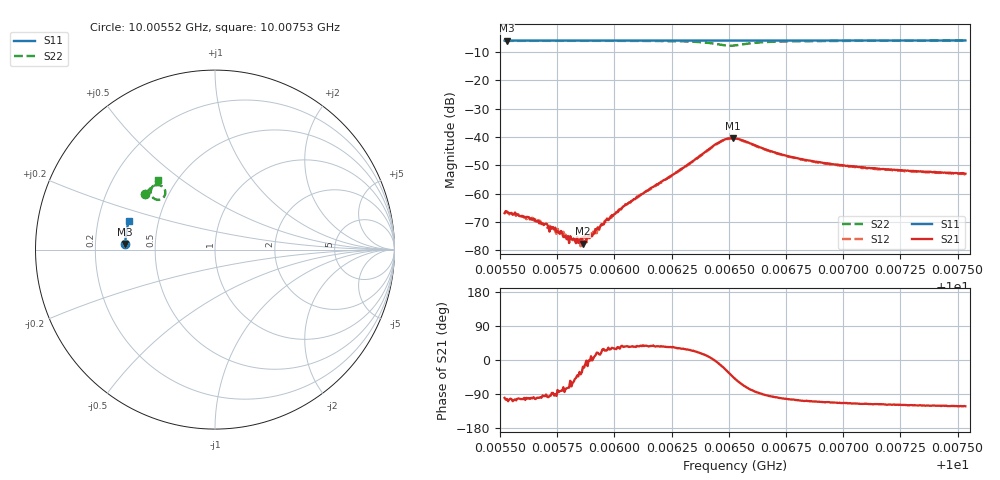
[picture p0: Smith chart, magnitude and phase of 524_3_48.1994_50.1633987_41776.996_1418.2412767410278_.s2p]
#  HZ  S  RI  R  50.00
! Rohde & Schwarz Vector Network Analyzer
! Rohde-Schwarz,ZNB20-2Port,1311601062101988,3.16
! Created: UTC 3/20/2024, 11:59:36 AM
! freq[Hz]  re:S11  im:S11  re:S21  im:S21  re:S12  im:S12  re:S22  im:S22
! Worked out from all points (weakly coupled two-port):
!   401 points, 10.00552 GHz to 10.00753 GHz, reference 50 ohm
!   highest |S21| = -40.37 dB at 10.00652 GHz (marker M1); lowest = -77.6 dB at 10.00586 GHz (marker M2)
!   lowest |S11| = -6.0 dB at 10.00553 GHz (marker M3), VSWR 3.01, Z = 16.6 + j1.38 ohm
!   |S11| at or under -10 dB: nowhere
!   |S22| runs from -7.8 to -6.0 dB; largest |S21 - S12| = 0.00062
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1.000552e10  -0.5003 0.0304  -7.95e-05 -0.000446  -0.000105 -0.000435  -0.3899 0.3075
1.000553e10  -0.5002 0.0311  -0.000106 -0.000472  -0.000116 -0.000454  -0.3893 0.3082
1.0005636e10  -0.5 0.038  -6.25e-05 -0.00036  -7.71e-05 -0.000359  -0.3847 0.3145
1.0005731e10  -0.4998 0.0441  1.43e-05 -0.000258  2.45e-05 -0.000228  -0.3801 0.3204
1.0005777e10  -0.4994 0.0473  5.38e-05 -0.000164  4.6e-05 -0.000209  -0.3778 0.3229
1.0005792e10  -0.4994 0.0481  4.12e-05 -0.000152  4.29e-05 -0.000161  -0.3772 0.324
1.0005837e10  -0.4992 0.0511  0.000131 -0.000112  0.000111 -6.23e-05  -0.3747 0.3268
1.0005847e10  -0.4992 0.0517  0.000127 -7.78e-05  0.000108 -9.7e-05  -0.3743 0.3274
1.0005857e10  -0.4992 0.0525  0.000143 -9.14e-05  0.00013 -7.03e-05  -0.3736 0.328
1.0005862e10  -0.4993 0.0528  0.000126 -4.03e-05  0.000162 -4.99e-05  -0.3733 0.3284
1.0005872e10  -0.4992 0.0534  0.000141 -2.78e-05  0.000182 -3.42e-05  -0.3728 0.329
1.0005887e10  -0.499 0.0543  0.000181 -3.9e-06  0.000154 -2.54e-05  -0.3718 0.3301
1.0006043e10  -0.4982 0.0644  0.000499 0.000353  0.000486 0.000362  -0.3617 0.3404
1.0006195e10  -0.4969 0.0742  0.00123 0.000899  0.00116 0.000953  -0.3471 0.3513
1.0006451e10  -0.4941 0.0907  0.00779 -0.000974  0.00766 -0.00058  -0.2786 0.3314
1.0006517e10  -0.4933 0.0944  0.00689 -0.00666  0.00712 -0.0061  -0.2964 0.283
1.0006527e10  -0.4933 0.0948  0.00614 -0.00723  0.00645 -0.00669  -0.3042 0.2794
1.0006608e10  -0.4931 0.0999  0.00105 -0.00727  0.00143 -0.0071  -0.3496 0.2938
1.0006728e10  -0.4918 0.1078  -0.000937 -0.00487  -0.000648 -0.00484  -0.3578 0.3266
1.0006864e10  -0.4904 0.1165  -0.00124 -0.00357  -0.00105 -0.00359  -0.3515 0.3461
1.0007202e10  -0.4855 0.1378  -0.00121 -0.00237  -0.00111 -0.00241  -0.3331 0.3722
1.0007534e10  -0.4797 0.1586  -0.0012 -0.00192  -0.00108 -0.00193  -0.3158 0.3901
